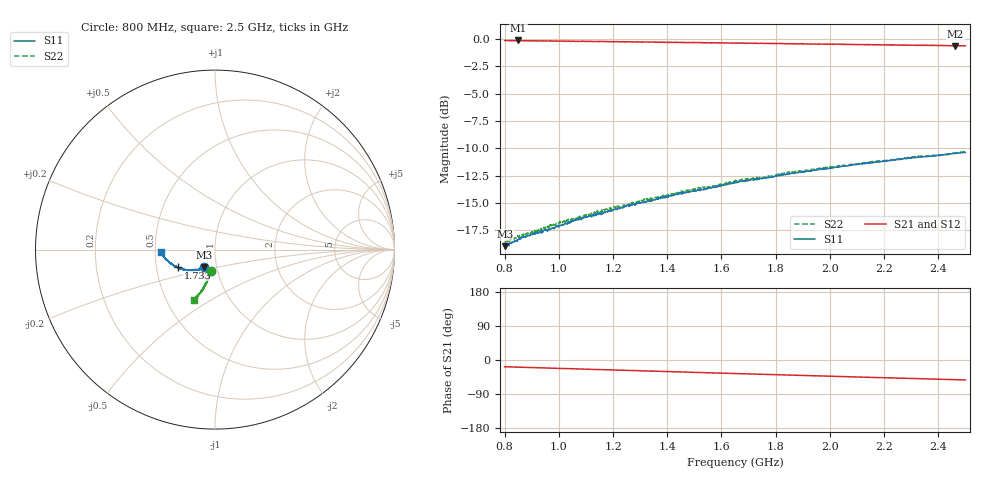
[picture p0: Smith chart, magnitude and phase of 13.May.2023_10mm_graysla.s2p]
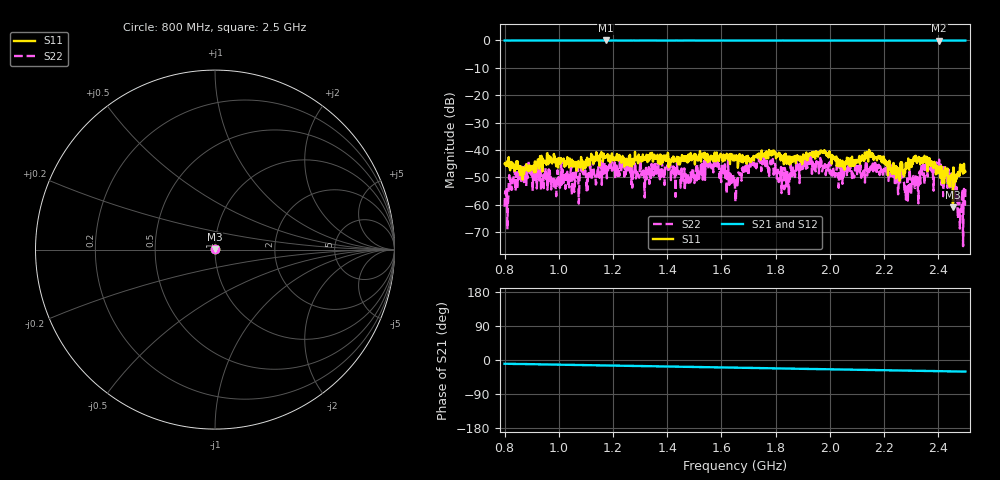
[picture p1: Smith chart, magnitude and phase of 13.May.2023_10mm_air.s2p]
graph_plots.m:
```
pla_s2p = sparameters('13.May.2023_10mm_pla.s2p');
graysla_s2p = sparameters('13.May.2023_10mm_graysla.s2p');
abs320_s2p = sparameters('13.May.2023_10mm_abs320.s2p');
hightemp_s2p = sparameters('13.May.2023_10mm_hightemp_or_clear.s2p');
air_s2p = sparameters('13.May.2023_10mm_air.s2p');
durable_s2p = sparameters('13.May.2023_10mm_durablesla.s2p');

pla_matrix = readmatrix('13.May.2023_10mm_pla_result.csv');
graysla_matrix = readmatrix('13.May.2023_10mm_graysla_result.csv');
abs320_matrix = readmatrix('13.May.2023_10mm_abs320_result.csv');
hightemp_matrix = readmatrix('13.May.2023_10mm_hightemp_or_clear_result.csv');
air_matrix = readmatrix('13.May.2023_10mm_air_result.csv');
durable_matrix = readmatrix('13.May.2023_10mm_durablesla_result.csv');

figure;
tiledlayout(1,2)
nexttile;
set(0, 'defaultfigurecolor', [1 1 1]);
set(gca, 'Fontsize', 14);
hold on;
plot(pla_s2p.Frequencies./1e9, 20*log10(abs(rfparam(pla_s2p,1,1))), 'LineWidth', 1.5, 'Color', 'blue');
plot(pla_s2p.Frequencies./1e9, 20*log10(abs(rfparam(graysla_s2p,1,1))), 'LineWidth', 1.5, 'Color', 'red');
plot(pla_s2p.Frequencies./1e9, 20*log10(abs(rfparam(abs320_s2p,1,1))), 'LineWidth', 1.5, 'Color', 'green');
plot(pla_s2p.Frequencies./1e9, 20*log10(abs(rfparam(hightemp_s2p,1,1))), 'LineWidth', 1.5, 'Color', 'yellow');
plot(pla_s2p.Frequencies./1e9, 20*log10(abs(rfparam(durable_s2p,1,1))), 'LineWidth', 1.5, 'Color', 'magenta');
%legend("PLA", "Gray SLA", "ABS320", "Hightemp or Clear(not sure which)", "Durable SLA", "Air", 'Location', 'southoutside', 'orientation', 'horizontal');
%legend('boxoff');
title("Measured De-embedded S11");
ylabel("dB");
xlabel("frequency (GHz)");
xlim([.8 2.5]);
grid on;
box on;

nexttile;
set(0, 'defaultfigurecolor', [1 1 1]);
set(gca, 'Fontsize', 14);
hold on;
plot(pla_s2p.Frequencies./1e9, real(pla_matrix(:,4)), 'LineWidth', 1.5, 'Color', 'blue');
plot(pla_s2p.Frequencies./1e9, real(graysla_matrix(:,4)), 'LineWidth', 1.5, 'Color', 'red');
plot(pla_s2p.Frequencies./1e9, real(abs320_matrix(:,4)), 'LineWidth', 1.5, 'Color', 'green');
plot(pla_s2p.Frequencies./1e9, real(hightemp_matrix(:,4)), 'LineWidth', 1.5, 'Color', 'yellow');
plot(pla_s2p.Frequencies./1e9, real(durable_matrix(:,4)), 'LineWidth', 1.5, 'Color', 'magenta');
%plot(pla_s2p.Frequencies./1e9, real(air_matrix(:,4)), 'LineWidth', 1.5, 'Color', 'black');
%legend("PLA", "Gray SLA", "ABS320", "Hightemp or Clear(not sure which)", "Durable SLA", "Air", 'Location', 'eastoutside');
%legend('boxoff');
title("Measured De-embedded Relative Permittivity");
ylabel("ε_r");
xlabel("frequency (GHz)");
xlim([.8 2.5]);
grid on;
box on;

leg = legend("PLA", "Gray SLA", "ABS320", "Hightemp or Clear(not sure which)", "Durable SLA", "Air", 'Location', 'southoutside', 'orientation', 'horizontal');
leg.Layout.Tile = 'south';
```
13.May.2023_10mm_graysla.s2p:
!Keysight Technologies N9950B: A.12.38
!Date: Saturday, 13 May 2023 13:05:08
!Timezone: (UTC-06:00) Central Time (US & Canada)
!Model: N9950B
!Serial: MY61131330
!GPS Latitude:
!GPS Longitude:
!GPS TimeStamp: 0001-01-01 00:00:00Z
!GPS Seconds Since Last Read: 0
!CHECKSUM:0347534235
!Correction: S11(ON U)S21(ON U)S12(ON U)S22(ON U)
!S2P File: Measurements:S11,S21,S12,S22:
# Hz S DB R 50
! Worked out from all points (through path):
!   1001 points, 800 MHz to 2.5 GHz, reference 50 ohm
!   highest |S21| = -0.15 dB at 851 MHz (marker M1); lowest = -0.7 dB at 2.463 GHz (marker M2)
!   group delay of S21, straight-line fit = 57 ps
!   lowest |S11| = -18.9 dB at 801.7 MHz (marker M3), VSWR 1.25, Z = 43.7 - j8.53 ohm
!   |S11| at or under -10 dB: start of sweep to end of sweep
!   |S22| runs from -18.6 to -10.3 dB; largest |S21 - S12| = 0.0058
!   S11 on the Smith chart (normalised r, x): 800 MHz: 0.87, -0.17; 1.733 GHz: 0.65, -0.14; 2.5 GHz: 0.54, -0.02
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8e8  -18.90 -121.7  -0.16 -17.8  -0.18 -17.8  -18.49 -100.4
8.017e8  -18.94 -121.4  -0.15 -17.8  -0.17 -17.8  -18.50 -99.9
8.51e8  -18.32 -123.0  -0.15 -18.9  -0.19 -18.9  -18.06 -100.0
1.1383e9  -16.14 -134.9  -0.25 -25.0  -0.25 -25.0  -15.73 -102.4
1.2488e9  -15.33 -138.0  -0.27 -27.3  -0.29 -27.2  -15.22 -103.3
1.3202e9  -14.86 -139.9  -0.29 -28.8  -0.30 -28.8  -14.73 -104.3
1.65e9  -13.15 -151.5  -0.39 -35.7  -0.39 -35.6  -13.00 -106.9
1.7333e9  -12.82 -154.2  -0.41 -37.3  -0.43 -37.3  -12.74 -106.6
2.0478e9  -11.63 -163.1  -0.50 -43.8  -0.52 -43.8  -11.61 -109.9
2.4626e9  -10.48 -176.2  -0.65 -51.8  -0.66 -51.9  -10.43 -113.4
2.5e9  -10.39 -177.4  -0.64 -52.8  -0.66 -52.6  -10.33 -113.2
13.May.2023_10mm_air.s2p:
!Keysight Technologies N9950B: A.12.38
!Date: Saturday, 13 May 2023 13:26:57
!Timezone: (UTC-06:00) Central Time (US & Canada)
!Model: N9950B
!Serial: MY61131330
!GPS Latitude:
!GPS Longitude:
!GPS TimeStamp: 0001-01-01 00:00:00Z
!GPS Seconds Since Last Read: 0
!CHECKSUM:1918061496
!Correction: S11(ON U)S21(ON U)S12(ON U)S22(ON U)
!S2P File: Measurements:S11,S21,S12,S22:
# Hz S DB R 50
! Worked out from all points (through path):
!   1001 points, 800 MHz to 2.5 GHz, reference 50 ohm
!   highest |S21| = -0.02 dB at 1.174 GHz (marker M1); lowest = -0.1 dB at 2.403 GHz (marker M2)
!   group delay of S21, straight-line fit = 33.8 ps
!   lowest |S11| = -61.0 dB at 2.454 GHz (marker M3), VSWR 1.00, Z = 49.9 + j0.0702 ohm
!   |S11| at or under -10 dB: start of sweep to end of sweep
!   |S22| runs from -75.1 to -41.7 dB; largest |S21 - S12| = 0.0055
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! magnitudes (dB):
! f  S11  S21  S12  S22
! 800 MHz  -45.0  0.0  0.0  -60.7
! 890.1 MHz  -46.4  0.0  -0.1  -48.5
! 1.174 GHz  -42.7  0.0  0.0  -49.2
! 1.582 GHz  -40.9  -0.1  -0.1  -46.9
! 1.65 GHz  -42.9  -0.1  -0.1  -53.2
! 1.74 GHz  -42.4  0.0  -0.1  -45.3
! 2.174 GHz  -43.8  -0.1  -0.1  -47.1
! 2.284 GHz  -45.3  -0.1  -0.1  -53.2
! 2.403 GHz  -47.2  -0.1  -0.1  -43.5
! 2.454 GHz  -61.0  -0.1  -0.1  -55.0
! 2.5 GHz  -47.9  -0.1  -0.1  -54.4
